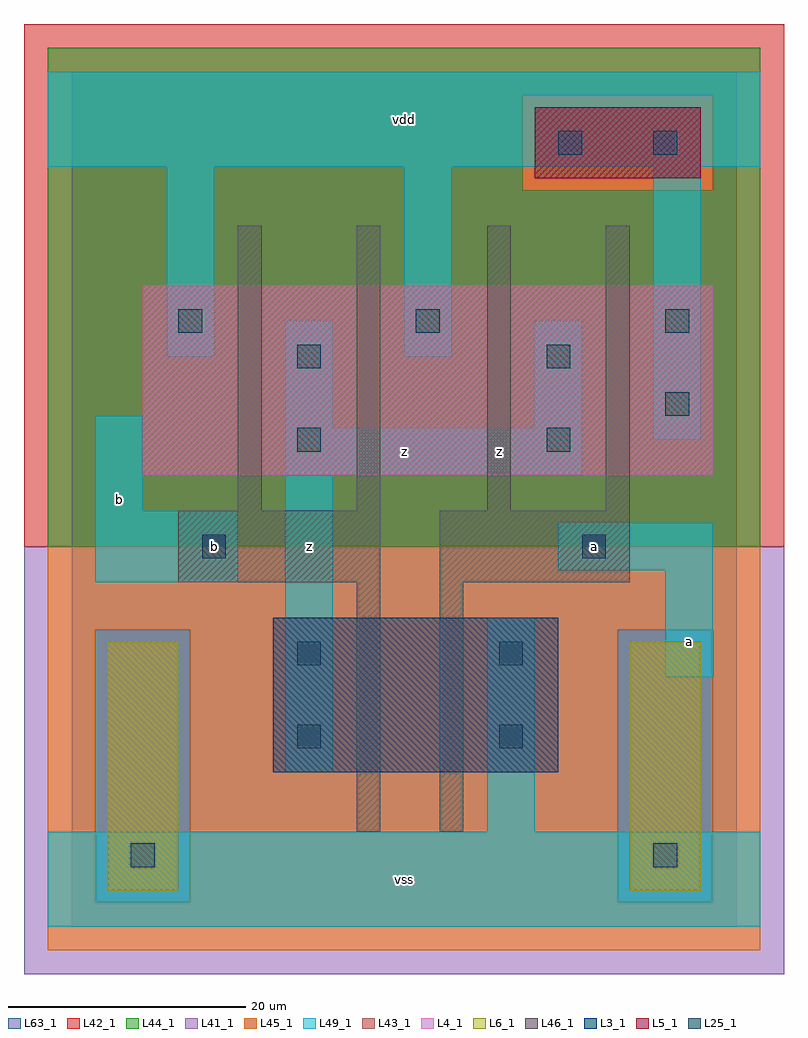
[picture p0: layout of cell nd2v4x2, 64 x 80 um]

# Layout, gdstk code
import gdstk
lib = gdstk.Library(unit=1e-6, precision=1e-09)
def R(c, l, rs):  # rectangles x0, y0, x1, y1
    for r in rs: c.add(gdstk.rectangle(r[:2], r[2:], *l))
L3_1 = (3, 1)
L4_1 = (4, 1)
L5_1 = (5, 1)
L6_1 = (6, 1)
L25_1 = (25, 1)
L41_1 = (41, 1)
L42_1 = (42, 1)
L43_1 = (43, 1)
L44_1 = (44, 1)
L45_1 = (45, 1)
L46_1 = (46, 1)
L49_1 = (49, 1)
L63_1 = (63, 1)

nd2v4x2 = lib.new_cell('nd2v4x2')
R(nd2v4x2, L3_1, [(17,13,41,26)])
R(nd2v4x2, L4_1, [(6,38,54,54)])
R(nd2v4x2, L5_1, [(39,63,53,69)])
R(nd2v4x2, L6_1, [(3,3,9,24), (3,3,9,24), (47,3,53,24), (47,3,53,24)])
R(nd2v4x2, L25_1, [(5,5,7,7), (49,5,51,7), (19,15,21,17), (36,15,38,17), (19,22,21,24), (36,22,38,24), (11,31,13,33), (43,31,45,33), (19,40,21,42), (40,40,42,42), (50,43,52,45), (19,47,21,49), (40,47,42,49), (9,50,11,52), (29,50,31,52), (50,50,52,52), (41,65,43,67), (49,65,51,67)])
R(nd2v4x2, L41_1, [(-4,-4,60,32)])
R(nd2v4x2, L42_1, [(-4,32,60,76)])
R(nd2v4x2, L43_1, [(3,3,9,24), (47,3,53,24), (17,13,41,26), (6,38,54,54), (39,63,53,69)])
R(nd2v4x2, L44_1, [(2,2,10,25), (46,2,54,25), (-2,32,58,62), (-2,62,38,70), (54,62,58,70), (-2,70,58,74)])
R(nd2v4x2, L45_1, [(-2,-2,58,2), (-2,2,2,25), (10,2,46,25), (54,2,58,25), (-2,25,58,32), (38,62,54,70)])
R(nd2v4x2, L46_1, [(24,8,26,29), (31,8,33,29), (9,29,26,35), (31,29,47,35), (14,35,16,59), (24,35,26,59), (35,35,37,59), (45,35,47,59)])
R(nd2v4x2, L49_1, [(-2,0,58,8), (35,8,39,26), (18,13,22,38), (50,21,54,30), (2,29,14,35), (41,30,54,34), (2,35,6,43), (18,38,43,42), (49,41,53,64), (18,42,22,51), (39,42,43,51), (8,48,12,64), (28,48,32,64), (-2,64,58,72)])
R(nd2v4x2, L63_1, [(0,0,56,72)])
nd2v4x2.add(gdstk.Label('b', (4,36), layer=49, texttype=1))
nd2v4x2.add(gdstk.Label('b', (12,32), layer=49, texttype=1))
nd2v4x2.add(gdstk.Label('z', (20,32), layer=49, texttype=1))
nd2v4x2.add(gdstk.Label('vss', (28,4), layer=49, texttype=1))
nd2v4x2.add(gdstk.Label('z', (36,40), layer=49, texttype=1))
nd2v4x2.add(gdstk.Label('z', (28,40), layer=49, texttype=1))
nd2v4x2.add(gdstk.Label('vdd', (28,68), layer=49, texttype=1))
nd2v4x2.add(gdstk.Label('a', (44,32), layer=49, texttype=1))
nd2v4x2.add(gdstk.Label('a', (52,24), layer=49, texttype=1))

lib.write_gds('nd2v4x2.gds')
